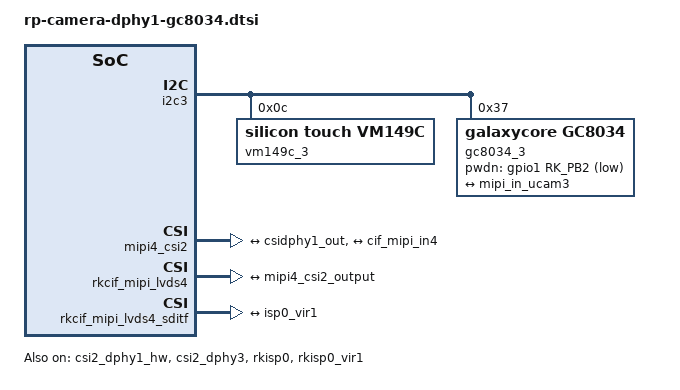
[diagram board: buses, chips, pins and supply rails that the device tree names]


&i2c3 {
    status = "okay";
    pinctrl-names = "default";
    pinctrl-0 = <&i2c3m0_xfer>;

vm149c_3: vm149c_3@0c { 
	compatible = "silicon touch,vm149c";
	status = "okay";
	reg = <0x0c>;
	rockchip,vcm-start-current = <20>; // 马达的启动电流
	rockchip,vcm-rated-current = <100>; // 马达的额定电流
	rockchip,vcm-step-mode = <13>; // 马达驱动 ic 的电流输出模式
	rockchip,camera-module-index = <3>; // 模组编号
	rockchip,camera-module-facing = "back"; // 模组朝向，有"back"和"front"
};

  
    gc8034_3: gc8034_3@37 {
        compatible = "galaxycore,gc8034";
        status = "okay";
        reg = <0x37>;
        lens-focus = <&vm149c_3>; 
        clocks = <&cru CLK_MIPI_CAMARAOUT_M4>;
        clock-names = "xvclk";
        power-domains = <&power RK3588_PD_VI>;
        pinctrl-names = "default";
        pinctrl-0 = <&mipim0_camera4_clk>;
        rockchip,grf = <&sys_grf>;
        pwdn-gpios = <&gpio1 RK_PB2 GPIO_ACTIVE_LOW>;
        rockchip,camera-module-index = <3>;
        rockchip,camera-module-facing = "back";
        rockchip,camera-module-name = "RK-CMK-8M-2-v1";
        rockchip,camera-module-lens-name = "CK8401-4";
        
 port {
            gc8034_out3: endpoint {
                remote-endpoint = <&mipi_in_ucam3>;
                data-lanes = <1 2 3 4>;
            };
        };
    };
};

&csi2_dphy1_hw {
    status = "okay";
};

&csi2_dphy3 {
    status = "okay";
    ports {
        #address-cells = <1>;
        #size-cells = <0>;
        port@0 {
            reg = <0>;
            #address-cells = <1>;
            #size-cells = <0>;
            mipi_in_ucam3: endpoint@1 {
                reg = <1>;
                remote-endpoint = <&gc8034_out3>;
                data-lanes = <1 2 3 4>;
            };
        };
        port@1 {
            reg = <1>;
            #address-cells = <1>;
            #size-cells = <0>;
            csidphy1_out: endpoint@0 {
                reg = <0>;
                remote-endpoint = <&mipi4_csi2_input>;
            };
        };
    };
};

&mipi4_csi2 {
    status = "okay";
    ports {
        #address-cells = <1>;
        #size-cells = <0>;
        port@0 {
            reg = <0>;
            #address-cells = <1>;
            #size-cells = <0>;
            mipi4_csi2_input: endpoint@1 {
                reg = <1>;
                remote-endpoint = <&csidphy1_out>;
            };
        };
        port@1 {
            reg = <1>;
            #address-cells = <1>;
            #size-cells = <0>;
            mipi4_csi2_output: endpoint@0 {
                reg = <0>;
                remote-endpoint = <&cif_mipi_in4>;
            };
        };
    };
};


&rkcif_mipi_lvds4 {
    status = "okay";
    port {
        cif_mipi_in4: endpoint {
            remote-endpoint = <&mipi4_csi2_output>;
        };
    };
};

&rkcif_mipi_lvds4_sditf {
    status = "okay";
    port {
        mipi4_lvds_sditf: endpoint {
            remote-endpoint = <&isp0_vir1>;
        };
    };
};

&rkisp0 {
    status = "okay";
};

&isp0_mmu {
    status = "okay";
};

&rkisp0_vir1 {
    status = "okay";
    port {
        #address-cells = <1>;
        #size-cells = <0>;

        isp0_vir1: endpoint@0 {
            reg = <0>;
            remote-endpoint = <&mipi4_lvds_sditf>;
        };
    };
};

